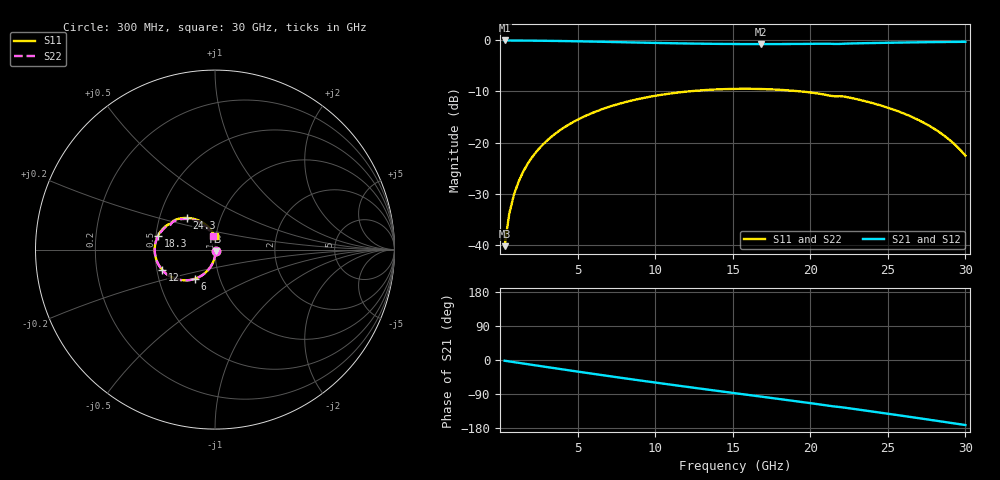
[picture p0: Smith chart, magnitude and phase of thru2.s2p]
! Created Thu Feb 13 09:13:25 2025
# hz S ma R 50
! 2 Port Network Data from SP1.SP block
! freq  magS11  angS11  magS21  angS21  magS12  angS12  magS22  angS22
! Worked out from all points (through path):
!   100 points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, 300 MHz to 30 GHz, reference 50 ohm
!   highest |S21| = -0.03 dB at 300 MHz (marker M1); lowest = -0.7 dB at 16.8 GHz (marker M2)
!   group delay of S21, straight-line fit = 15.6 ps
!   lowest |S11| = -40.2 dB at 300 MHz (marker M3), VSWR 1.02, Z = 50.3 - j0.937 ohm
!   |S11| at or under -10 dB: start of sweep to 12.11 GHz; 19.43 GHz to end of sweep
!   |S22| runs from -40.2 to -9.5 dB; largest |S21 - S12| = 1e-09
!   S11 on the Smith chart (normalised r, x): 300 MHz: 1.01, -0.02; 6 GHz: 0.76, -0.26; 12 GHz: 0.53, -0.13; 18.3 GHz: 0.51, +0.09; 24.3 GHz: 0.69, +0.26; 30 GHz: 0.98, +0.15
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3e8  0.009733 -73.1  0.9971 -1.9  0.9971 -1.9  0.009734 -73.1
6e8  0.02027 -83.2  0.9961 -3.8  0.9961 -3.8  0.02027 -83.2
9e8  0.03092 -87.9  0.9954 -5.6  0.9954 -5.6  0.03092 -87.9
1.2e9  0.04155 -91.4  0.9947 -7.5  0.9947 -7.5  0.04155 -91.3
1.8e9  0.06261 -96.7  0.9931 -11.1  0.9931 -11.1  0.06261 -96.7
2.4e9  0.08334 -101.3  0.9912 -14.8  0.9912 -14.8  0.08333 -101.2
3.3e9  0.1136 -107.5  0.9875 -20.3  0.9875 -20.3  0.1136 -107.4
5.4e9  0.1792 -120.8  0.9757 -32.9  0.9757 -32.9  0.1792 -120.6
6e9  0.1963 -124.4  0.9717 -36.5  0.9717 -36.5  0.1963 -124.2
8.1e9  0.2493 -136.9  0.9568 -48.7  0.9568 -48.7  0.2492 -136.6
1.02e10  0.2902 -149.0  0.9424 -60.6  0.9424 -60.6  0.2901 -148.6
1.2e10  0.315 -159.1  0.9319 -70.5  0.9319 -70.5  0.3149 -158.7
1.53e10  0.3357 -177.4  0.9204 -88.4  0.9204 -88.4  0.3355 -176.7
1.68e10  0.3344 174.4  0.9191 -96.4  0.9191 -96.4  0.3342 175.2
1.83e10  0.3265 166.1  0.9203 -104.6  0.9203 -104.6  0.3262 167.0
2.01e10  0.308 156.0  0.9244 -114.4  0.9244 -114.4  0.3071 157.3
2.22e10  0.2817 145.2  0.9272 -125.7  0.9272 -125.7  0.2814 146.7
2.43e10  0.2367 131.8  0.9425 -137.7  0.9425 -137.7  0.2364 133.7
2.52e10  0.2146 126.2  0.9475 -142.9  0.9475 -142.9  0.2143 128.3
2.79e10  0.1393 108.6  0.9605 -158.9  0.9605 -158.9  0.139 111.8
2.91e10  0.1027 99.7  0.9646 -166.2  0.9646 -166.2  0.1022 104.0
3e10  0.07459 92.0  0.9668 -171.7  0.9668 -171.7  0.07394 97.7
